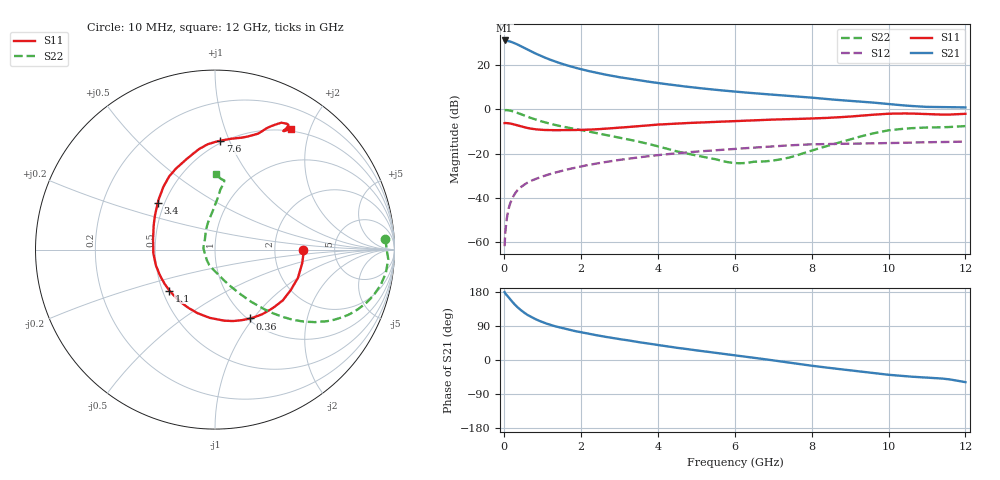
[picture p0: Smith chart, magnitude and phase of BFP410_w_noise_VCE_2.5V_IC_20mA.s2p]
! Infineon Technologies  Discrete & RF Semiconductors
! BFP410
! VCE =  2.5 V,  IC =  20 mA
! Common Emitter S-Parameters:  Nov 2015
# GHz  S  MA  R  50
!  f  S11  S21  S12  S22
! GHz  MAG  ANG  MAG  ANG  MAG  ANG  MAG  ANG
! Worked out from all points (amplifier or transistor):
!   243 points, 10 MHz to 12 GHz, reference 50 ohm
!   highest |S21| = 31.2 dB at 10 MHz (marker M1)
!   |S21| within 3 dB of that: start of sweep to 479.3 MHz
!   unconditionally stable (mu >= 1): start of sweep to 12.64 MHz; 1.843 GHz to end of sweep
!   at 240 MHz: K = 0.27, MSG = 34.7 dB, |S12| = -39.3 dB
!   at 1.84 GHz: K = 1.00, MSG = 22.7 dB, |S12| = -26.4 dB
!   at 12 GHz: K = 1.02, MAG = 6.8 dB, |S12| = -14.6 dB
!   lowest NFmin = 1.70 dB at 900 MHz
!   S11 on the Smith chart (normalised r, x): 10 MHz: 2.92, -0.01; 360 MHz: 1.03, -0.97; 1.1 GHz: 0.54, -0.28; 3.4 GHz: 0.46, +0.29; 7.6 GHz: 0.48, +0.92; 12 GHz: 0.47, +1.71
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0.01  0.49 -0.1  36.38 179.3  0.0008 113.1  0.9509 3.6
0.02  0.4928 -3.2  36.21 176.8  0.0013 89.5  0.9567 -0.1
0.085  0.4877 -15.9  35.43 168.6  0.0042 83.9  0.9617 -6.5
0.15  0.4787 -28.0  34.46 160.5  0.0072 80.3  0.944 -12.1
0.2  0.472 -36.8  33.39 154.7  0.0094 76.7  0.9201 -16.0
0.3  0.4461 -53.7  30.76 143.7  0.0132 71.8  0.8625 -22.7
0.36  0.4308 -63.0  29.06 138.0  0.0152 69.5  0.8252 -26.2
0.5  0.3994 -82.5  25.22 126.3  0.0193 65.4  0.7402 -32.6
0.6  0.3815 -94.4  22.74 119.3  0.0218 63.3  0.686 -36.1
0.7  0.3674 -105.3  20.59 113.5  0.0241 62.0  0.6379 -39.0
0.9  0.35 -123.3  17.06 103.8  0.0284 60.2  0.5597 -43.3
1.1  0.3413 -138.0  14.38 96.1  0.0325 59.3  0.4982 -46.6
1.46  0.3381 -158.2  11.07 85.4  0.0399 57.9  0.4182 -51.1
2.02  0.3444 179.0  8.045 72.7  0.0515 55.3  0.3372 -56.3
2.6  0.3646 160.0  6.209 61.7  0.0636 51.4  0.2683 -61.8
3.4  0.4114 140.8  4.71 48.9  0.08 45.4  0.1941 -71.0
4.1  0.458 127.8  3.851 38.1  0.0941 39.6  0.1384 -83.0
6.1  0.5461 103.3  2.485 11.1  0.1293 22.4  0.0604 -162.6
7.6  0.6072 87.3  1.968 -9.2  0.1563 8.1  0.0901 127.1
8.2  0.6315 79.2  1.779 -17.5  0.163 1.1  0.1319 110.7
10.2  0.8029 61.2  1.275 -40.7  0.174 -15.3  0.3503 83.9
12  0.7948 57.9  1.109 -58.4  0.1871 -30.7  0.4187 88.9
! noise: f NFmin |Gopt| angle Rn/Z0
0.45  1.73  0.14  -155  0.16
0.9  1.7  0.14  -156  0.16
1.8  1.84  0.19  -141  0.17
2.4  1.84  0.24  -124  0.23
5.5  2.72  0.43  -103  0.42
10  3.83  0.7  -46  2.5
